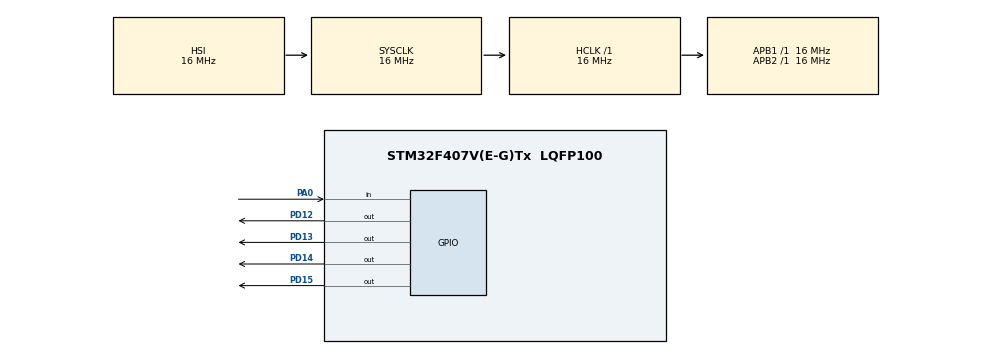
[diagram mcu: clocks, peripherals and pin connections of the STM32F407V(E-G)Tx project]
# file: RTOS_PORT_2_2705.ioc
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FREERTOS.Tasks01=defaultTask,24,128,StartDefaultTask,Default,NULL,Dynamic,NULL,NULL
Mcu.Family=STM32F4
Mcu.Name=STM32F407V(E-G)Tx
Mcu.Package=LQFP100
NVIC.PriorityGroup=NVIC_PRIORITYGROUP_4
PA0-WKUP.Signal=GPIO_Input
PD12.Signal=GPIO_Output
PD13.Signal=GPIO_Output
PD14.Signal=GPIO_Output
PD15.Signal=GPIO_Output
ProjectManager.HeapSize=0x200
ProjectManager.StackSize=0x400
ProjectManager.TargetToolchain=STM32CubeIDE
RCC.AHBFreq_Value=16000000
RCC.APB1Freq_Value=16000000
RCC.APB2Freq_Value=16000000
RCC.CortexFreq_Value=16000000
RCC.HSE_VALUE=25000000
RCC.HSI_VALUE=16000000
RCC.LSE_VALUE=32768
RCC.SYSCLKFreq_VALUE=16000000
RCC.VCOOutputFreq_Value=192000000
VP_FREERTOS_VS_CMSIS_V2.Mode=CMSIS_V2
board=custom

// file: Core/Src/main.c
/* USER CODE BEGIN Header */
/**
  ******************************************************************************
  * @file           : main.c
  * @brief          : Main program body
  ******************************************************************************
  * @attention
  *
  * Copyright (c) 2023 STMicroelectronics.
  * All rights reserved.
  *
  * This software is licensed under terms that can be found in the LICENSE file
  * in the root directory of this software component.
  * If no LICENSE file comes with this software, it is provided AS-IS.
  *
  ******************************************************************************
  */
/* USER CODE END Header */
#include "main.h"
#include "cmsis_os.h"

/* USER CODE BEGIN Includes */
#include "FreeRTOS.h"
#include "task.h"
/* USER CODE END Includes */

/* Definitions for defaultTask */
osThreadId_t defaultTaskHandle;
const osThreadAttr_t defaultTask_attributes = {
  .name = "defaultTask",
  .stack_size = 128 * 4,
  .priority = (osPriority_t) osPriorityNormal,
};
/* USER CODE BEGIN PV */
int flag =0;
/* USER CODE END PV */

void SystemClock_Config(void);
static void MX_GPIO_Init(void);
void StartDefaultTask(void *argument);

/* USER CODE BEGIN PFP */
void task1(void *ptr)
{
	/*for(int i=0;i<10;i++){
		HAL_GPIO_TogglePin(GPIOD, GPIO_PIN_12);
		HAL_Delay(500);
	}
	vTaskDelete(NULL);
	*/
	uint8_t count=0;
	while(1){
		HAL_GPIO_TogglePin(GPIOD, GPIO_PIN_12);
		HAL_Delay(500);
		count++;

	}
}
void task2(void *ptr)
{
	/*for(int i=0;i<20;i++){
		HAL_GPIO_TogglePin(GPIOD, GPIO_PIN_13);
		HAL_Delay(500);
	}
	vTaskDelete(NULL);
	*/
		TaskHandle_t task1_rashmi=(TaskHandle_t)ptr;
		while(1){

		if(HAL_GPIO_ReadPin(GPIOA, GPIO_PIN_0)==1){
				//task1(&flag);  //
				HAL_GPIO_WritePin(GPIOD, GPIO_PIN_12, 0);
				vTaskDelete(task1_rashmi);
				vTaskDelete(NULL);
				}
		}
}
void task3(void *ptr)
{
	for(;;){
		HAL_GPIO_TogglePin(GPIOD, GPIO_PIN_14);
		HAL_Delay(300);
	}
}
void task4(void *ptr)
{

	for(;;){
		HAL_GPIO_TogglePin(GPIOD, GPIO_PIN_15);
		HAL_Delay(400);
	}
}
/* USER CODE END PFP */

int main(void)
{

  /* MCU Configuration--------------------------------------------------------*/

  /* Reset of all peripherals, Initializes the Flash interface and the Systick. */
  HAL_Init();

  /* Configure the system clock */
  SystemClock_Config();

  /* Initialize all configured peripherals */
  MX_GPIO_Init();

  /* Init scheduler */
  osKernelInitialize();

  /* Create the thread(s) */
  /* creation of defaultTask */
  defaultTaskHandle = osThreadNew(StartDefaultTask, NULL, &defaultTask_attributes);

  /* USER CODE BEGIN RTOS_THREADS */
  /* add threads, ... */
  TaskHandle_t task1_rashmi ;
  xTaskCreate(task1, "task1", 200,NULL , 2,&task1_rashmi);
  xTaskCreate(task2, "task2", 200, (void*)task1_rashmi, 2, NULL);
  xTaskCreate(task3, "task3", 200, NULL, 1, NULL);
  xTaskCreate(task4, "task4", 200,NULL , 1, NULL);
  /* USER CODE END RTOS_THREADS */

  /* Start scheduler */
  osKernelStart();
  /* We should never get here as control is now taken by the scheduler */
  /* Infinite loop */
  while (1)
  {

  }
}

void SystemClock_Config(void)
{
  RCC_OscInitTypeDef RCC_OscInitStruct = {0};
  RCC_ClkInitTypeDef RCC_ClkInitStruct = {0};

  /** Configure the main internal regulator output voltage
  */
  __HAL_RCC_PWR_CLK_ENABLE();
  __HAL_PWR_VOLTAGESCALING_CONFIG(PWR_REGULATOR_VOLTAGE_SCALE1);

  /** Initializes the RCC Oscillators according to the specified parameters
  * in the RCC_OscInitTypeDef structure.
  */
  RCC_OscInitStruct.OscillatorType = RCC_OSCILLATORTYPE_HSI;
  RCC_OscInitStruct.HSIState = RCC_HSI_ON;
  RCC_OscInitStruct.HSICalibrationValue = RCC_HSICALIBRATION_DEFAULT;
  RCC_OscInitStruct.PLL.PLLState = RCC_PLL_NONE;
  if (HAL_RCC_OscConfig(&RCC_OscInitStruct) != HAL_OK)
  {
    Error_Handler();
  }

  /** Initializes the CPU, AHB and APB buses clocks
  */
  RCC_ClkInitStruct.ClockType = RCC_CLOCKTYPE_HCLK|RCC_CLOCKTYPE_SYSCLK
                              |RCC_CLOCKTYPE_PCLK1|RCC_CLOCKTYPE_PCLK2;
  RCC_ClkInitStruct.SYSCLKSource = RCC_SYSCLKSOURCE_HSI;
  RCC_ClkInitStruct.AHBCLKDivider = RCC_SYSCLK_DIV1;
  RCC_ClkInitStruct.APB1CLKDivider = RCC_HCLK_DIV1;
  RCC_ClkInitStruct.APB2CLKDivider = RCC_HCLK_DIV1;

  if (HAL_RCC_ClockConfig(&RCC_ClkInitStruct, FLASH_LATENCY_0) != HAL_OK)
  {
    Error_Handler();
  }
}

static void MX_GPIO_Init(void)
{
  GPIO_InitTypeDef GPIO_InitStruct = {0};

  /* GPIO Ports Clock Enable */
  __HAL_RCC_GPIOA_CLK_ENABLE();
  __HAL_RCC_GPIOD_CLK_ENABLE();

  /*Configure GPIO pin Output Level */
  HAL_GPIO_WritePin(GPIOD, GPIO_PIN_12|GPIO_PIN_13|GPIO_PIN_14|GPIO_PIN_15, GPIO_PIN_RESET);

  /*Configure GPIO pin : PA0 */
  GPIO_InitStruct.Pin = GPIO_PIN_0;
  GPIO_InitStruct.Mode = GPIO_MODE_INPUT;
  GPIO_InitStruct.Pull = GPIO_NOPULL;
  HAL_GPIO_Init(GPIOA, &GPIO_InitStruct);

  /*Configure GPIO pins : PD12 PD13 PD14 PD15 */
  GPIO_InitStruct.Pin = GPIO_PIN_12|GPIO_PIN_13|GPIO_PIN_14|GPIO_PIN_15;
  GPIO_InitStruct.Mode = GPIO_MODE_OUTPUT_PP;
  GPIO_InitStruct.Pull = GPIO_NOPULL;
  GPIO_InitStruct.Speed = GPIO_SPEED_FREQ_LOW;
  HAL_GPIO_Init(GPIOD, &GPIO_InitStruct);

}

/* USER CODE BEGIN 4 */
void HAL_GPIO_EXTI_Callback(uint16_t GPIO_Pin)
{
 flag=1;
}

/* USER CODE END 4 */

void StartDefaultTask(void *argument)
{
  for(;;)
  {
    osDelay(1);
  }
}

void Error_Handler(void)
{
  __disable_irq();
  while (1)
  {
  }
}
